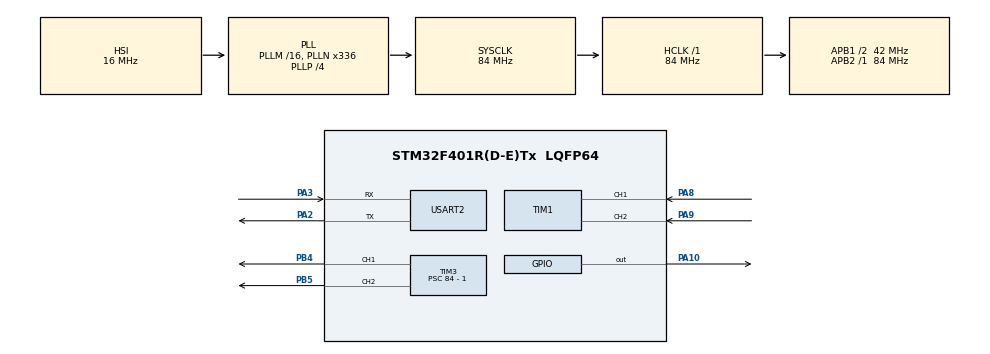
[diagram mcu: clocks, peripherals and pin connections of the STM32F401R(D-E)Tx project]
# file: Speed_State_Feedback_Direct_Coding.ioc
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Mcu.Family=STM32F4
Mcu.Name=STM32F401R(D-E)Tx
Mcu.Package=LQFP64
NVIC.PriorityGroup=NVIC_PRIORITYGROUP_4
NVIC.TIM4_IRQn=true\:0\:0\:false\:false\:true\:true\:true\:true
PA10.Signal=GPIO_Output
PA2.Mode=Asynchronous
PA2.Signal=USART2_TX
PA3.Mode=Asynchronous
PA3.Signal=USART2_RX
PA8.Signal=S_TIM1_CH1
PA9.Signal=S_TIM1_CH2
PB4.Signal=S_TIM3_CH1
PB5.Signal=S_TIM3_CH2
ProjectManager.HeapSize=0x200
ProjectManager.StackSize=0x400
ProjectManager.TargetToolchain=STM32CubeIDE
RCC.48MHZClocksFreq_Value=84000000
RCC.AHBFreq_Value=84000000
RCC.APB1CLKDivider=RCC_HCLK_DIV2
RCC.APB1Freq_Value=42000000
RCC.APB1TimFreq_Value=84000000
RCC.APB2Freq_Value=84000000
RCC.APB2TimFreq_Value=84000000
RCC.CortexFreq_Value=84000000
RCC.HCLKFreq_Value=84000000
RCC.HSE_VALUE=25000000
RCC.HSI_VALUE=16000000
RCC.LSE_VALUE=32768
RCC.PLLN=336
RCC.PLLP=RCC_PLLP_DIV4
RCC.SYSCLKFreq_VALUE=84000000
RCC.SYSCLKSource=RCC_SYSCLKSOURCE_PLLCLK
RCC.VCOOutputFreq_Value=336000000
SH.S_TIM1_CH1.0=TIM1_CH1,Encoder_Interface
SH.S_TIM1_CH2.0=TIM1_CH2,Encoder_Interface
SH.S_TIM3_CH1.0=TIM3_CH1,PWM Generation1 CH1
SH.S_TIM3_CH2.0=TIM3_CH2,PWM Generation2 CH2
TIM1.EncoderMode=TIM_ENCODERMODE_TI12
TIM3.AutoReloadPreload=TIM_AUTORELOAD_PRELOAD_ENABLE
TIM3.Channel-PWM\ Generation1\ CH1=TIM_CHANNEL_1
TIM3.Channel-PWM\ Generation2\ CH2=TIM_CHANNEL_2
TIM3.Period=500 - 1
TIM3.Prescaler=84 - 1
TIM4.Period=5000 - 1
TIM4.Prescaler=84 - 1
USART2.VirtualMode=VM_ASYNC
VP_TIM3_VS_ClockSourceINT.Mode=Internal
VP_TIM4_VS_ClockSourceINT.Mode=Internal
board=custom

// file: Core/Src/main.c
/* USER CODE BEGIN Header */
/**
 ******************************************************************************
 * @file           : main.c
 * @brief          : Main program body
 ******************************************************************************
 * @attention
 *
 * <h2><center>&copy; Copyright (c) 2021 STMicroelectronics.
 * All rights reserved.</center></h2>
 *
 * This software component is licensed by ST under BSD 3-Clause license,
 * the "License"; You may not use this file except in compliance with the
 * License. You may obtain a copy of the License at:
 *                        opensource.org/licenses/BSD-3-Clause
 *
 ******************************************************************************
 */
/* USER CODE END Header */
#include "main.h"

/* USER CODE BEGIN Includes */
#include "stdio.h"
#include "stdlib.h"
#include "stdbool.h"
#include "math.h"
#include "string.h"
#include  <errno.h>
#include  <sys/unistd.h> // STDOUT_FILENO, STDERR_FILENO
/* USER CODE END Includes */

/* USER CODE BEGIN PD */

/*
Secondi da attendere tra un cambio di riferimento e l'altro. Tale tempo coincide
anche con il numero di secondi tra un invio USART e l'altro.
*/
#define WAITING 2

// Dimensione del buffer dei riferimenti.
#define REF_DIM 6
/* USER CODE END PD */

TIM_HandleTypeDef htim1;
TIM_HandleTypeDef htim3;
TIM_HandleTypeDef htim4;

UART_HandleTypeDef huart2;

void SystemClock_Config(void);
static void MX_GPIO_Init(void);
static void MX_USART2_UART_Init(void);
static void MX_TIM3_Init(void);
static void MX_TIM1_Init(void);
static void MX_TIM4_Init(void);

/* USER CODE BEGIN 0 */
/* BEGIN CIRCULAR DATA BUFFER */
typedef struct circular_buffer {
	void *buffer;     // Buffer dei dati.
	void *buffer_end; // Fine del buffer dei dati.
	size_t capacity;  // Massimo numero di elementi nel buffer.
	size_t count;     // Numero di elementi nel buffer.
	size_t sz;        // Dimensione di ogni elemento del buffer.
	void *head;       // Puntatore alla testa.
	void *tail;       // Puntatore alla coda.
	bool writing;  	// Segnale che indica se si sta scrivendo o meno nel buffer.
} circular_buffer;

void circularBufferInit(circular_buffer *cb, size_t capacity, size_t sz) {
	cb->buffer = calloc(capacity, sz);
	if (cb->buffer == NULL)
		printf("ALLOCATED NULL\n\r");

	cb->buffer_end = (char*) cb->buffer + capacity * sz;
	cb->capacity = capacity;
	cb->count = 0;
	cb->sz = sz;
	cb->head = cb->buffer;
	cb->tail = cb->buffer;
	cb->writing = false;

}

void circularBufferFree(circular_buffer *cb) {
	free(cb->buffer);
}

void circularBufferPushBack(circular_buffer *cb, const void *item) {
	if (cb->count == cb->capacity) {
		printf("ERROR PUSH BACK \n\r");
	}
	cb->writing = true;
	memmove(cb->head, item, cb->sz);
	cb->head = (char*) cb->head + cb->sz;
	if (cb->head == cb->buffer_end)
		cb->head = cb->buffer;
	cb->count++;
	cb->writing = false;
}

void circularBufferPopFront(circular_buffer *cb, void *item) {
	if (cb->count == 0) {
		printf("ERROR PUSH BACK \n\r");
	}
	memmove(item, cb->tail, cb->sz);
	cb->tail = (char*) cb->tail + cb->sz;
	if (cb->tail == cb->buffer_end)
		cb->tail = cb->buffer;
	while ((cb->writing))
		;
	cb->count--;
}

circular_buffer buffer;

/* BEGIN RECORD TYPEDEF*/
typedef struct record {
	double current_u; // Valore dell'input di controllo attuale.
	double current_y; // Valore dell'uscita del motore attuale.
	double current_r; // Valore del riferimento attuale.
	uint32_t cycle_core_duration; // Tempo necessario per leggere,
								// computare e attuare.
	uint32_t cycle_begin_delay; // Differenza tra il tempo attuale e il tempo
								// atteso di inizio del ciclo.
	uint32_t current_timestamp; // Timestamp corrente in millisecondi.
} record;

/* BEGIN USART WRITE FUNCTION (used by printf)*/
int _write(int file, char *data, int len) {
	if ((file != STDOUT_FILENO) && (file != STDERR_FILENO)) {
		errno = EBADF;
		return -1;
	}

	HAL_StatusTypeDef status = HAL_UART_Transmit(&huart2, (uint8_t*) data, len, 1000);

	return (status == HAL_OK ? len : 0);
}

void setPulseFromDutyValue(double dutyVal) {
	HAL_GPIO_WritePin(GPIOA, GPIO_PIN_10, GPIO_PIN_SET);

	uint16_t channelToModulate;
	uint16_t channelToStop;

	if (dutyVal > 0) {
		channelToModulate = TIM_CHANNEL_1;
		channelToStop = TIM_CHANNEL_2;
	} else {
		channelToModulate = TIM_CHANNEL_2;
		channelToStop = TIM_CHANNEL_1;
	}

	__HAL_TIM_SET_COMPARE(&htim3, channelToStop, 0);
	__HAL_TIM_SET_COMPARE(&htim3, channelToModulate,
			(abs(dutyVal) * ((double )htim3.Init.Period)) / 100);
}

/**
 * @brief Calcola la velocita' del motore a partire dalla variazione dei ticks
 * generati dall'encoder nell'ultimo intervallo di campionamento.
 *
 * @param ticksDelta Variazione di ticks.
 * @param Ts Tempo di campionamento.
 *
 * @return La velocita' attuale del motore.
 **/
double getSpeedByDelta(double ticksDelta, double Ts) {
	return ticksDelta * 60 / (3591.84 * Ts);
}

/**
 * @brief Calcola la variazione dei ticks generati dall'encoder nell'ultimo
 * intervallo di campionamento.
 *
 * @param current_ticks Conteggio attuale di ticks.
 * @param last_ticks Conteggio passato di ticks.
 * @param Ts Tempo di campionamento.
 *
 * @return Variazione dei ticks.
 **/
double getTicksDelta(double current_ticks, double last_ticks, double Ts) {
	double delta;

	if (abs(current_ticks - last_ticks) <= ceil(8400 * Ts))
		delta = current_ticks - last_ticks;
	else {
		if (last_ticks > current_ticks)
			delta = current_ticks + pow(2, 16) - 1 - last_ticks;
		else
			delta = current_ticks - pow(2, 16) + 1 - last_ticks;
	}
	return delta;
}

double last_ticks = 0;
double current_ticks = 0;
uint32_t tic_control_step;
uint32_t toc_control_step;
uint32_t control_computation_duration;

uint32_t controller_k = -1;
int sampling_prescaler = 2;
int sampling_prescaler_counter = 0;

double Ts = 0.005; // Tempo di campionamento

// Buffer dei riferimenti
double reference_array[REF_DIM] = { 60.0, 80.0, 125.0, 0, -80.0, -125.0};
double reference;

double u = 0;

double **Ad;
double **Bd;
double **Cd;
double **state_kp1;
double **state_k;
double **y_k_expected;
double **L;
double **u_matrix;
double **sum_center;
double **sub_y;
double **sum_top;
double **sum_bottom;

int Ad_rows = 2;
int Ad_columns = 2;
int Bd_rows = 2;
int Bd_columns = 1;
int Cd_rows = 1;
int Cd_columns = 2;
int L_rows = 2;
int L_columns = 1;
int state_rows = 2;
int state_columns = 1;
int y_k_expected_rows = 1;
int y_k_expected_columns = 1;
int u_rows = 1;
int u_columns = 1;

double kp_1 = 0.0770;
double kp_2 = -0.0645;
double ki = 0.0042;
double z = 0;
double z_last = 0;
double error_last = 0;

/**
 * @brief Crea e restituisce una matrice di dimensione nXm.
 *
 * @param n Numero di righe della matrice.
 * @param m Numero di colonne della matrice.
 *
 * @return La matrice creata.
 **/
double** createMatrix(int n, int m) {
	double *values = (double*) calloc(m * n, sizeof(double));
	double **rows = (double**) malloc(n * sizeof(double*));
	for (int i = 0; i < n; ++i) {
		rows[i] = values + i * m;
	}
	return rows;
}

/**
 * @brief Inizializza le matrici del modello e le matrici degli stati attuali e
 * futuri.
 **/
void initMatricies() {

	Ad = createMatrix(Ad_rows, Ad_columns);
	Ad[0][0] = 0.8645;
	Ad[0][1] = -0.0565;
	Ad[1][0] = 1.0;
	Ad[1][1] = 0.0;

	Bd = createMatrix(Bd_rows, Bd_columns);
	Bd[0][0] = 1.0;
	Bd[1][0] = 0.0;

	Cd = createMatrix(Cd_rows, Cd_columns);
	Cd[0][0] = 1.4424;
	Cd[0][1] = 0.4751;

	L = createMatrix(L_rows, L_columns);
	L[0][0] = 0.3789;
	L[1][0] = 0.4549;

	state_kp1 = createMatrix(state_rows, state_columns);
	state_k = createMatrix(state_rows, state_columns);
	y_k_expected = createMatrix(y_k_expected_rows, y_k_expected_columns);

	u_matrix = createMatrix(u_rows, u_columns);
	sum_center = createMatrix(Bd_rows, u_columns);
	sub_y = createMatrix(y_k_expected_rows, y_k_expected_columns);
	sum_top = createMatrix(L_rows, y_k_expected_columns);
	sum_bottom = createMatrix(Ad_rows, state_columns);
}

/**
 * @brief Effettua la moltiplicazione righe per colonne tra due matrici.
 *
 * @param m1 La prima matrice.
 * @param m2 La seconda matrice.
 * @param m1_rows Numero di righe della prima matrice.
 * @param m1_columns Numero di righe della prima matrice.
 * @param m2_rows Numero di righe della seconda matrice.
 * @param m2_columns Numero di righe della seconda matrice.
 * @param m3 La matrice che conterra' il prodotto.
 **/
void multiplyMatricies(double **m1, double **m2, int m1_rows, int m1_columns,
		int m2_rows, int m2_columns, double **m3) {

	for (int i = 0; i < m1_rows; i++) {
		for (int j = 0; j < m2_columns; j++) {
			m3[i][j] = 0;
			for (int k = 0; k < m2_rows; k++) {
				m3[i][j] += m1[i][k] * m2[k][j];
			}
		}
	}
}

/**
 * @brief Setta tutti gli elementi di una matrice a zero.
 *
 * @param arr Matrice da azzerare.
 * @param n Numero di righe della matrice.
 * @param m Numero di colonne della matrice.
 *
 **/
void resetArray(double **arr, int n, int m) {

	for (int i = 0; i < n; i++) {
	  for( int j = 0; j < m; j++){
		  arr[i][j] = 0;
	  }
	}
}

/**
 * @brief Effettua la somma tra due matrici. Il risultato sara' contenuto nella
 * prima.
 *
 * @param m1 La prima matrice.
 * @param m2 La seconda matrice.
 * @param rows Numero di righe delle matrici.
 * @param columns Numero di righe delle matrici.
 **/
void sumMatricies(double **m1, double **m2, double rows, double columns) {

	for (int i = 0; i < rows; i++) {
		for (int j = 0; j < columns; j++) {
			m1[i][j] = m1[i][j] + m2[i][j];
		}
	}
}

/* USER CODE END 0 */

int main(void) {
	/* MCU Configuration--------------------------------------------------------*/

	initMatricies();
	/* Reset of all peripherals, Initializes the Flash interface and the Systick. */
	HAL_Init();

	/* USER CODE BEGIN Init */
	size_t buffer_size = (size_t) ceil(2 * WAITING / (Ts * sampling_prescaler));
	circularBufferInit(&buffer, buffer_size, sizeof(record));

	/* USER CODE END Init */

	/* Configure the system clock */
	SystemClock_Config();

	/* Initialize all configured peripherals */
	MX_GPIO_Init();
	MX_USART2_UART_Init();
	MX_TIM3_Init();
	MX_TIM1_Init();
	MX_TIM4_Init();
	/* USER CODE BEGIN 2 */
	HAL_TIM_PWM_Start(&htim3, TIM_CHANNEL_1);
	HAL_TIM_PWM_Start(&htim3, TIM_CHANNEL_2);
	HAL_TIM_Base_Start(&htim1);
	HAL_TIM_Base_Start_IT(&htim4);
	/* USER CODE END 2 */

	/* Infinite loop */
	/* USER CODE BEGIN WHILE */

	int reference_index = 0;
	reference = reference_array[reference_index];

	printf("INIT\n\r");

	while (1) {
		// Numero di campioni non ancora letti
		size_t n_entries_to_send = buffer.count;
		record retrieved; //buffer entry

		// Invio dei dati mediante USART
		for (size_t count = 0; count < n_entries_to_send; count++) {
			// Prende le entry dal buffer
			circularBufferPopFront(&buffer, &retrieved);
			printf("%lu, %f, %f, %f, %lu\n\r", retrieved.current_timestamp,
					retrieved.current_u, retrieved.current_y, retrieved.current_r,
					retrieved.cycle_core_duration);
		}

		// Cambio del riferimento
		reference = reference_array[reference_index];
		reference_index = (reference_index + 1)%REF_DIM;
		HAL_Delay(WAITING * 1000);

		/* USER CODE END WHILE */

	}
}

void SystemClock_Config(void) {
	RCC_OscInitTypeDef RCC_OscInitStruct = { 0 };
	RCC_ClkInitTypeDef RCC_ClkInitStruct = { 0 };

	/** Configure the main internal regulator output voltage
	 */
	__HAL_RCC_PWR_CLK_ENABLE();
	__HAL_PWR_VOLTAGESCALING_CONFIG(PWR_REGULATOR_VOLTAGE_SCALE2);
	/** Initializes the RCC Oscillators according to the specified parameters
	 * in the RCC_OscInitTypeDef structure.
	 */
	RCC_OscInitStruct.OscillatorType = RCC_OSCILLATORTYPE_HSI;
	RCC_OscInitStruct.HSIState = RCC_HSI_ON;
	RCC_OscInitStruct.HSICalibrationValue = RCC_HSICALIBRATION_DEFAULT;
	RCC_OscInitStruct.PLL.PLLState = RCC_PLL_ON;
	RCC_OscInitStruct.PLL.PLLSource = RCC_PLLSOURCE_HSI;
	RCC_OscInitStruct.PLL.PLLM = 16;
	RCC_OscInitStruct.PLL.PLLN = 336;
	RCC_OscInitStruct.PLL.PLLP = RCC_PLLP_DIV4;
	RCC_OscInitStruct.PLL.PLLQ = 4;
	if (HAL_RCC_OscConfig(&RCC_OscInitStruct) != HAL_OK) {
		Error_Handler();
	}
	/** Initializes the CPU, AHB and APB buses clocks
	 */
	RCC_ClkInitStruct.ClockType = RCC_CLOCKTYPE_HCLK | RCC_CLOCKTYPE_SYSCLK
			| RCC_CLOCKTYPE_PCLK1 | RCC_CLOCKTYPE_PCLK2;
	RCC_ClkInitStruct.SYSCLKSource = RCC_SYSCLKSOURCE_PLLCLK;
	RCC_ClkInitStruct.AHBCLKDivider = RCC_SYSCLK_DIV1;
	RCC_ClkInitStruct.APB1CLKDivider = RCC_HCLK_DIV2;
	RCC_ClkInitStruct.APB2CLKDivider = RCC_HCLK_DIV1;

	if (HAL_RCC_ClockConfig(&RCC_ClkInitStruct, FLASH_LATENCY_2) != HAL_OK) {
		Error_Handler();
	}
}

static void MX_TIM1_Init(void) {

	TIM_Encoder_InitTypeDef sConfig = { 0 };
	TIM_MasterConfigTypeDef sMasterConfig = { 0 };

	htim1.Instance = TIM1;
	htim1.Init.Prescaler = 0;
	htim1.Init.CounterMode = TIM_COUNTERMODE_UP;
	htim1.Init.Period = 65535;
	htim1.Init.ClockDivision = TIM_CLOCKDIVISION_DIV1;
	htim1.Init.RepetitionCounter = 0;
	htim1.Init.AutoReloadPreload = TIM_AUTORELOAD_PRELOAD_DISABLE;
	sConfig.EncoderMode = TIM_ENCODERMODE_TI12;
	sConfig.IC1Polarity = TIM_ICPOLARITY_RISING;
	sConfig.IC1Selection = TIM_ICSELECTION_DIRECTTI;
	sConfig.IC1Prescaler = TIM_ICPSC_DIV1;
	sConfig.IC1Filter = 0;
	sConfig.IC2Polarity = TIM_ICPOLARITY_RISING;
	sConfig.IC2Selection = TIM_ICSELECTION_DIRECTTI;
	sConfig.IC2Prescaler = TIM_ICPSC_DIV1;
	sConfig.IC2Filter = 0;
	if (HAL_TIM_Encoder_Init(&htim1, &sConfig) != HAL_OK) {
		Error_Handler();
	}
	sMasterConfig.MasterOutputTrigger = TIM_TRGO_RESET;
	sMasterConfig.MasterSlaveMode = TIM_MASTERSLAVEMODE_DISABLE;
	if (HAL_TIMEx_MasterConfigSynchronization(&htim1, &sMasterConfig)
			!= HAL_OK) {
		Error_Handler();
	}

}

static void MX_TIM3_Init(void) {

	TIM_ClockConfigTypeDef sClockSourceConfig = { 0 };
	TIM_MasterConfigTypeDef sMasterConfig = { 0 };
	TIM_OC_InitTypeDef sConfigOC = { 0 };

	htim3.Instance = TIM3;
	htim3.Init.Prescaler = 84 - 1;
	htim3.Init.CounterMode = TIM_COUNTERMODE_UP;
	htim3.Init.Period = 500 - 1;
	htim3.Init.ClockDivision = TIM_CLOCKDIVISION_DIV1;
	htim3.Init.AutoReloadPreload = TIM_AUTORELOAD_PRELOAD_ENABLE;
	if (HAL_TIM_Base_Init(&htim3) != HAL_OK) {
		Error_Handler();
	}
	sClockSourceConfig.ClockSource = TIM_CLOCKSOURCE_INTERNAL;
	if (HAL_TIM_ConfigClockSource(&htim3, &sClockSourceConfig) != HAL_OK) {
		Error_Handler();
	}
	if (HAL_TIM_PWM_Init(&htim3) != HAL_OK) {
		Error_Handler();
	}
	sMasterConfig.MasterOutputTrigger = TIM_TRGO_RESET;
	sMasterConfig.MasterSlaveMode = TIM_MASTERSLAVEMODE_DISABLE;
	if (HAL_TIMEx_MasterConfigSynchronization(&htim3, &sMasterConfig)
			!= HAL_OK) {
		Error_Handler();
	}
	sConfigOC.OCMode = TIM_OCMODE_PWM1;
	sConfigOC.Pulse = 0;
	sConfigOC.OCPolarity = TIM_OCPOLARITY_HIGH;
	sConfigOC.OCFastMode = TIM_OCFAST_DISABLE;
	if (HAL_TIM_PWM_ConfigChannel(&htim3, &sConfigOC, TIM_CHANNEL_1)
			!= HAL_OK) {
		Error_Handler();
	}
	if (HAL_TIM_PWM_ConfigChannel(&htim3, &sConfigOC, TIM_CHANNEL_2)
			!= HAL_OK) {
		Error_Handler();
	}
	HAL_TIM_MspPostInit(&htim3);

}

static void MX_TIM4_Init(void) {

	TIM_ClockConfigTypeDef sClockSourceConfig = { 0 };
	TIM_MasterConfigTypeDef sMasterConfig = { 0 };

	htim4.Instance = TIM4;
	htim4.Init.Prescaler = 84 - 1;
	htim4.Init.CounterMode = TIM_COUNTERMODE_UP;
	htim4.Init.Period = 5000 - 1;
	htim4.Init.ClockDivision = TIM_CLOCKDIVISION_DIV1;
	htim4.Init.AutoReloadPreload = TIM_AUTORELOAD_PRELOAD_DISABLE;
	if (HAL_TIM_Base_Init(&htim4) != HAL_OK) {
		Error_Handler();
	}
	sClockSourceConfig.ClockSource = TIM_CLOCKSOURCE_INTERNAL;
	if (HAL_TIM_ConfigClockSource(&htim4, &sClockSourceConfig) != HAL_OK) {
		Error_Handler();
	}
	sMasterConfig.MasterOutputTrigger = TIM_TRGO_RESET;
	sMasterConfig.MasterSlaveMode = TIM_MASTERSLAVEMODE_DISABLE;
	if (HAL_TIMEx_MasterConfigSynchronization(&htim4, &sMasterConfig)
			!= HAL_OK) {
		Error_Handler();
	}

}

static void MX_USART2_UART_Init(void) {

	huart2.Instance = USART2;
	huart2.Init.BaudRate = 115200;
	huart2.Init.WordLength = UART_WORDLENGTH_8B;
	huart2.Init.StopBits = UART_STOPBITS_1;
	huart2.Init.Parity = UART_PARITY_NONE;
	huart2.Init.Mode = UART_MODE_TX_RX;
	huart2.Init.HwFlowCtl = UART_HWCONTROL_NONE;
	huart2.Init.OverSampling = UART_OVERSAMPLING_16;
	if (HAL_UART_Init(&huart2) != HAL_OK) {
		Error_Handler();
	}

}

static void MX_GPIO_Init(void) {
	GPIO_InitTypeDef GPIO_InitStruct = { 0 };

	/* GPIO Ports Clock Enable */
	__HAL_RCC_GPIOA_CLK_ENABLE();
	__HAL_RCC_GPIOB_CLK_ENABLE();

	/*Configure GPIO pin Output Level */
	HAL_GPIO_WritePin(GPIOA, GPIO_PIN_10, GPIO_PIN_RESET);

	/*Configure GPIO pin : PA10 */
	GPIO_InitStruct.Pin = GPIO_PIN_10;
	GPIO_InitStruct.Mode = GPIO_MODE_OUTPUT_PP;
	GPIO_InitStruct.Pull = GPIO_NOPULL;
	GPIO_InitStruct.Speed = GPIO_SPEED_FREQ_LOW;
	HAL_GPIO_Init(GPIOA, &GPIO_InitStruct);

}

/**
 * @brief Implementa l'osservatore di Luenberger.
 *
 * @param u_last Valore dell'ingresso di controllo attuale.
 * @param y Valore attuale dell'uscita del sistema.
 **/
void luenbergerObserver(double u_last, double y) {

	// Assegna lo stato futuro computato precedentemente allo stato attuale e
	// azzera il futuro.
	for(int i=0; i < state_rows; i++){
		for(int j =0; j < state_columns; j++){
			state_k[i][j] = state_kp1[i][j];
			state_kp1[i][j] = 0;
		}
	}

	u_matrix[0][0] = u_last;

	// Moltiplicazione tra la matrice B e l'ingresso di controllo.
	multiplyMatricies(Bd, u_matrix, Bd_rows, Bd_columns, 1, 1, sum_center);

	// Moltiplicazione tra lo stato stimato e la matrice C.
	multiplyMatricies(Cd, state_k, Cd_rows, Cd_columns, state_rows, state_columns, y_k_expected);

	// Calcolo errore tra uscita stimata e uscita effettiva.
	sub_y[0][0] = y - y_k_expected[0][0];

	// Moltiplicazione dell'errore tra uscita stimata e uscita effettiva e la matrice L.
	multiplyMatricies(L, sub_y, L_rows, L_columns, y_k_expected_rows, y_k_expected_columns, sum_top);

	// Moltiplicazione tra stato stimato e matrice A.
	multiplyMatricies(Ad, state_k, Ad_rows, Ad_columns, state_rows, state_columns, sum_bottom);

	// Somma di tutti i contributi.
	sumMatricies(state_kp1, sum_top, L_rows, y_k_expected_columns);
	sumMatricies(state_kp1, sum_center, L_rows, y_k_expected_columns);
	sumMatricies(state_kp1, sum_bottom, L_rows, y_k_expected_columns);

	resetArray(sub_y, y_k_expected_rows, y_k_expected_columns);
	resetArray(sum_top, L_rows, y_k_expected_columns);
	resetArray(sum_center, L_rows, y_k_expected_columns);
	resetArray(sum_bottom, L_rows, y_k_expected_columns);
}

/* USER CODE BEGIN 4 */
void HAL_TIM_PeriodElapsedCallback(TIM_HandleTypeDef *htim) {

	if (htim == &htim4) {
		controller_k = controller_k + 1;

		if (controller_k == 0) {
			tic_control_step = HAL_GetTick();
		}

		toc_control_step = HAL_GetTick();

		// Prende il valore attuale dei tick contando i fronti dell'encoder.
		current_ticks = (double) __HAL_TIM_GET_COUNTER(&htim1);

		// Calcola la velocita' attuale del motore.
		double speed = getSpeedByDelta(getTicksDelta(current_ticks, last_ticks, Ts), Ts);

		// Stima dello stato con l'osservatore di Luenberger.
		// Dopo tale chiamata lo stato viene aggiornato con la nuova stima.
		luenbergerObserver(u, speed);

		//* Retroazione di stato *//
		double error = speed - reference;
		z = z_last - ki*error_last;

		double kx = kp_1*state_k[0][0] + kp_2*state_k[1][0];

		double u = z - kx;

		// Attuazione
		setPulseFromDutyValue(u * 100 / 12);

		//* ---------------------- *//

		error_last = error;
		z_last = z;

		control_computation_duration = HAL_GetTick() - toc_control_step;
		last_ticks = current_ticks;

		record r;
		r.current_u = u;
		r.current_y = speed;
		r.current_r = reference;
		r.cycle_core_duration = control_computation_duration;
		r.cycle_begin_delay = toc_control_step - tic_control_step - (controller_k * Ts * 1000);
		r.current_timestamp = HAL_GetTick();

		if (sampling_prescaler_counter == (sampling_prescaler - 1)) {
			circularBufferPushBack(&buffer, &r);
			sampling_prescaler_counter = -1;
		}
		sampling_prescaler_counter++;
	}
}
/* USER CODE END 4 */

void Error_Handler(void) {
	__disable_irq();
	while (1) {
	}
}

/************************ (C) COPYRIGHT STMicroelectronics *****END OF FILE****/
